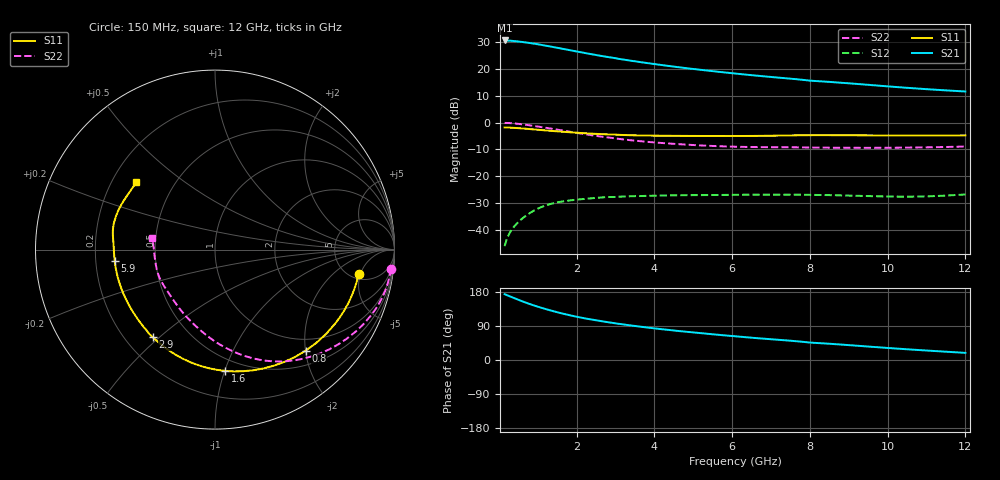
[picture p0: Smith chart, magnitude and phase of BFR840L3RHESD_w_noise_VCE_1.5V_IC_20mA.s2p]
! Infineon Technologies  Discrete & RF Semiconductors
! BFR840L3RHESD
! VCE =  1.5 V,  IC =  20 mA
! Common Emitter S-Parameters:  Jun 2012
# GHz  S  MA  R  50
!  f  S11  S21  S12  S22
! GHz  MAG  ANG  MAG  ANG  MAG  ANG  MAG  ANG
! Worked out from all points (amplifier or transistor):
!   91 points, 150 MHz to 12 GHz, reference 50 ohm
!   highest |S21| = 30.6 dB at 150 MHz (marker M1)
!   |S21| within 3 dB of that: start of sweep to 1.602 GHz
!   unconditionally stable (mu >= 1): 7.4 GHz to end of sweep
!   at 1.3 GHz: K = 0.19, MSG = 29.4 dB, |S12| = -30.4 dB
!   at 4.3 GHz: K = 0.58, MSG = 24.2 dB, |S12| = -27.1 dB
!   at 12 GHz: K = 1.81, MAG = 14.0 dB, |S12| = -26.8 dB
!   lowest NFmin = 1.09 dB at 450 MHz
!   S11 on the Smith chart (normalised r, x): 150 MHz: 5.82, -4.67; 800 MHz: 0.76, -2.00; 1.6 GHz: 0.40, -1.00; 2.9 GHz: 0.31, -0.48; 5.9 GHz: 0.28, -0.05; 12 GHz: 0.30, +0.34
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0.15  0.8119 -9.7  33.76 173.7  0.005 83.2  0.9854 -6.2
0.3  0.8035 -19.2  33.35 167.3  0.0093 81.9  0.9759 -13.5
0.5  0.7869 -31.3  32.3 159.0  0.014 74.6  0.9465 -22.2
0.6  0.7773 -37.1  31.66 155.1  0.0163 70.8  0.9277 -26.3
0.8  0.7565 -48.1  30.23 147.6  0.0207 64.2  0.8866 -34.0
1  0.7352 -58.4  28.68 140.8  0.0249 58.6  0.844 -41.3
1.2  0.7147 -68.0  27.07 134.6  0.0285 53.8  0.8015 -48.0
1.4  0.6956 -76.9  25.46 128.9  0.0314 49.5  0.7598 -54.3
1.6  0.6781 -85.2  23.92 123.6  0.0337 45.8  0.7192 -60.1
1.9  0.6544 -96.5  21.75 116.4  0.036 41.3  0.6617 -68.0
2.2  0.6336 -106.5  19.8 110.2  0.0378 38.0  0.6101 -75.1
2.5  0.6161 -115.2  18.09 104.8  0.0396 35.0  0.5659 -81.4
2.9  0.5988 -125.3  16.2 98.3  0.0412 31.3  0.518 -89.0
3.5  0.5784 -138.5  13.82 89.8  0.0427 27.8  0.4604 -99.5
4.2  0.5682 -150.6  11.74 81.2  0.0438 25.7  0.4162 -110.1
5  0.5635 -162.6  9.944 72.8  0.0446 23.4  0.3818 -121.6
5.9  0.5624 -173.6  8.438 64.2  0.0451 21.5  0.3583 -133.3
6.1  0.5625 -175.8  8.153 62.4  0.0453 21.4  0.3551 -135.9
8  0.5825 164.6  6.029 46.0  0.0451 19.6  0.3431 -160.3
8.5  0.5824 160.8  5.715 42.9  0.0446 19.6  0.3408 -164.7
10.5  0.5739 146.5  4.434 28.3  0.0417 26.2  0.342 178.1
12  0.5779 139.3  3.785 18.8  0.0459 33.9  0.3584 169.3
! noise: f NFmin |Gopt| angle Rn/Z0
0.45  1.09  0.06  16  0.16
0.9  1.12  0.07  29  0.15
1.9  1.15  0.1  55  0.14
3.5  1.14  0.12  79  0.13
4  1.15  0.14  86  0.13
5.5  1.17  0.17  104  0.12
7  1.23  0.19  122  0.12
8  1.28  0.19  133  0.12
10  1.37  0.19  157  0.12
12  1.49  0.21  -170  0.12
